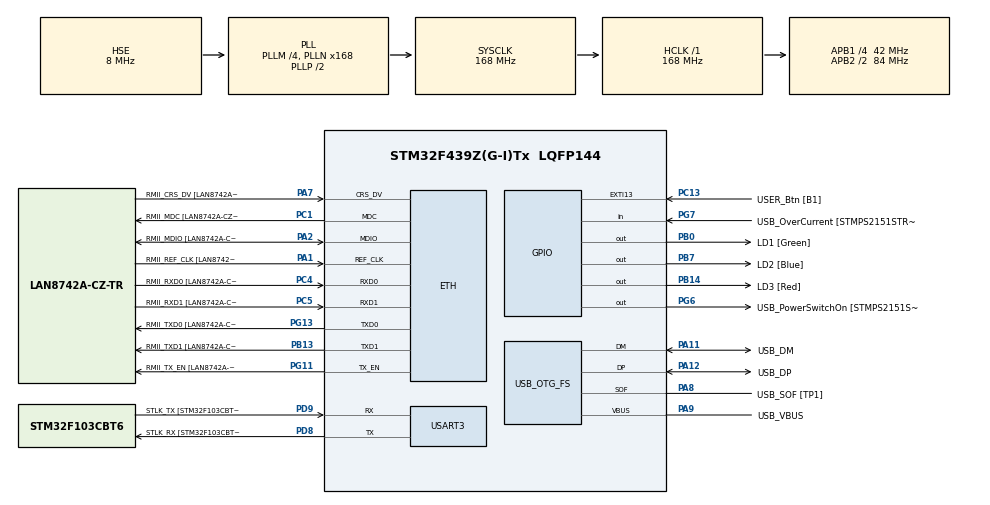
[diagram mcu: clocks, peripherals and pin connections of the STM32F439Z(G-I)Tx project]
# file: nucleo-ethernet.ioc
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ETH.MediaInterface=HAL_ETH_RMII_MODE
ETH.PHY_Name=LAN8742A_PHY_ADDRESS
ETH.PHY_Value=0
ETH.PhyAddress=0
LWIP.IP_ADDRESS=192.168.050.010
LWIP.LWIP_DHCP=0
LWIP.NETMASK_ADDRESS=255.255.255.000
LWIP.Version=v2.1.2_Cube
Mcu.Family=STM32F4
Mcu.Name=STM32F439Z(G-I)Tx
Mcu.Package=LQFP144
NVIC.ETH_IRQn=true\:0\:0\:false\:false\:true\:true\:true\:true
NVIC.PriorityGroup=NVIC_PRIORITYGROUP_4
PA1.GPIO_Label=RMII_REF_CLK [LAN8742A-CZ-TR_REFCLK0]
PA1.Mode=RMII
PA1.Signal=ETH_REF_CLK
PA10.GPIO_Label=USB_ID
PA10.Signal=USB_OTG_FS_ID
PA11.GPIO_Label=USB_DM
PA11.Mode=Device_Only
PA11.Signal=USB_OTG_FS_DM
PA12.GPIO_Label=USB_DP
PA12.Mode=Device_Only
PA12.Signal=USB_OTG_FS_DP
PA13.GPIO_Label=TMS
PA13.Mode=Serial_Wire
PA13.Signal=SYS_JTMS-SWDIO
PA14.GPIO_Label=TCK
PA14.Mode=Serial_Wire
PA14.Signal=SYS_JTCK-SWCLK
PA2.GPIO_Label=RMII_MDIO [LAN8742A-CZ-TR_MDIO]
PA2.Mode=RMII
PA2.Signal=ETH_MDIO
PA7.GPIO_Label=RMII_CRS_DV [LAN8742A-CZ-TR_CRS_DV]
PA7.Mode=RMII
PA7.Signal=ETH_CRS_DV
PA8.GPIO_Label=USB_SOF [TP1]
PA8.Mode=Activate_SOF_FS
PA8.Signal=USB_OTG_FS_SOF
PA9.GPIO_Label=USB_VBUS
PA9.Mode=Activate_VBUS
PA9.Signal=USB_OTG_FS_VBUS
PB0.GPIO_Label=LD1 [Green]
PB0.Signal=GPIO_Output
PB13.GPIO_Label=RMII_TXD1 [LAN8742A-CZ-TR_TXD1]
PB13.Mode=RMII
PB13.Signal=ETH_TXD1
PB14.GPIO_Label=LD3 [Red]
PB14.Signal=GPIO_Output
PB7.GPIO_Label=LD2 [Blue]
PB7.Signal=GPIO_Output
PC1.GPIO_Label=RMII_MDC [LAN8742A-CZ-TR_MDC]
PC1.Mode=RMII
PC1.Signal=ETH_MDC
PC13.GPIO_Label=USER_Btn [B1]
PC13.Signal=GPXTI13
PC14/OSC32_IN.Mode=LSE-External-Oscillator
PC14/OSC32_IN.Signal=RCC_OSC32_IN
PC15/OSC32_OUT.Mode=LSE-External-Oscillator
PC15/OSC32_OUT.Signal=RCC_OSC32_OUT
PC4.GPIO_Label=RMII_RXD0 [LAN8742A-CZ-TR_RXD0]
PC4.Mode=RMII
PC4.Signal=ETH_RXD0
PC5.GPIO_Label=RMII_RXD1 [LAN8742A-CZ-TR_RXD1]
PC5.Mode=RMII
PC5.Signal=ETH_RXD1
PD8.GPIO_Label=STLK_RX [STM32F103CBT6_PA3]
PD8.Mode=Asynchronous
PD8.Signal=USART3_TX
PD9.GPIO_Label=STLK_TX [STM32F103CBT6_PA2]
PD9.Mode=Asynchronous
PD9.Signal=USART3_RX
PG11.GPIO_Label=RMII_TX_EN [LAN8742A-CZ-TR_TXEN]
PG11.Mode=RMII
PG11.Signal=ETH_TX_EN
PG13.GPIO_Label=RMII_TXD0 [LAN8742A-CZ-TR_TXD0]
PG13.Mode=RMII
PG13.Signal=ETH_TXD0
PG6.GPIO_Label=USB_PowerSwitchOn [STMPS2151STR_EN]
PG6.Signal=GPIO_Output
PG7.GPIO_Label=USB_OverCurrent [STMPS2151STR_FAULT]
PG7.Signal=GPIO_Input
PH0/OSC_IN.GPIO_Label=MCO [STM32F103CBT6_PA8]
PH0/OSC_IN.Mode=HSE-External-Clock-Source
PH0/OSC_IN.Signal=RCC_OSC_IN
PH1/OSC_OUT.Mode=HSE-External-Clock-Source
PH1/OSC_OUT.Signal=RCC_OSC_OUT
ProjectManager.HeapSize=0x200
ProjectManager.StackSize=0x400
ProjectManager.TargetToolchain=STM32CubeIDE
RCC.48MHZClocksFreq_Value=48000000
RCC.AHBFreq_Value=168000000
RCC.APB1CLKDivider=RCC_HCLK_DIV4
RCC.APB1Freq_Value=42000000
RCC.APB1TimFreq_Value=84000000
RCC.APB2CLKDivider=RCC_HCLK_DIV2
RCC.APB2Freq_Value=84000000
RCC.APB2TimCLKDivider=2
RCC.APB2TimFreq_Value=168000000
RCC.CortexFreq_Value=168000000
RCC.HCLKFreq_Value=168000000
RCC.HSE_VALUE=8000000
RCC.HSI_VALUE=16000000
RCC.PLLM=4
RCC.PLLMUL=RCC_PLL_MUL9
RCC.PLLN=168
RCC.PLLQ=7
RCC.PRESCALERUSB=RCC_USBCLKSOURCE_PLL_DIV1_5
RCC.SYSCLKFreq_VALUE=168000000
RCC.SYSCLKSource=RCC_SYSCLKSOURCE_PLLCLK
RCC.SYSCLKSourceVirtual=RCC_SYSCLKSOURCE_PLLCLK
RCC.USBFreq_Value=48000000
RCC.VCOOutputFreq_Value=336000000
USART3.VirtualMode=VM_ASYNC
USB_OTG_FS.VirtualMode=Device_Only
VP_LWIP_VS_Enabled.Mode=Enabled
board=NUCLEO-F439ZI

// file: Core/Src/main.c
/* USER CODE BEGIN Header */
/**
  ******************************************************************************
  * @file           : main.c
  * @brief          : Main program body
  ******************************************************************************
  * @attention
  *
  * Copyright (c) 2026 STMicroelectronics.
  * All rights reserved.
  *
  * This software is licensed under terms that can be found in the LICENSE file
  * in the root directory of this software component.
  * If no LICENSE file comes with this software, it is provided AS-IS.
  *
  ******************************************************************************
  */
/* USER CODE END Header */
#include "main.h"
#include "lwip.h"

/* USER CODE BEGIN Includes */
#include "ethernet_driver.h"
#include "led_control.h"
#include "app_commands.h"
#include "mqtt_driver.h"
#include <string.h>
/* USER CODE END Includes */

UART_HandleTypeDef huart3;

PCD_HandleTypeDef hpcd_USB_OTG_FS;

/* USER CODE BEGIN PV */

/* Islenmekte olan TCP komutunun hangi istemciden geldigini tutar.
   tcp_reply() bu degeri okuyarak cevabi dogru istemciye gonderir.
   Islem tek is parcaciginda (RTOS'suz) senkron oldugu icin guvenlidir. */
static ethernet_client_t s_current_tcp_client = NULL;
/* USER CODE END PV */

void SystemClock_Config(void);
static void MX_GPIO_Init(void);
static void MX_USART3_UART_Init(void);
static void MX_USB_OTG_FS_PCD_Init(void);

/* USER CODE BEGIN 0 */

/**
  * @brief  app_commands_process()'in TCP kaynakli komutlara cevap
  *         vermek icin kullandigi reply fonksiyonu. Cevabi, komutu
  *         gonderen istemciye (s_current_tcp_client) gonderir.
  */
static void tcp_reply(const char *msg, uint16_t len)
{
  ethernet_send_to(s_current_tcp_client, (const uint8_t *)msg, len);
}

/**
  * @brief  Ethernet (TCP) uzerinden mesaj alindiginda cagrilir.
  *         Gelen komutu app_commands katmanina yonlendirir, cevap
  *         gonderen istemciye TCP kanalindan doner.
  */
static void app_ethernet_rx_callback(ethernet_client_t client, const uint8_t *data, uint16_t len)
{
  s_current_tcp_client = client;
  app_commands_process(data, len, tcp_reply);
  s_current_tcp_client = NULL;
}

/* USER CODE END 0 */

int main(void)
{

  /* MCU Configuration--------------------------------------------------------*/

  /* Reset of all peripherals, Initializes the Flash interface and the Systick. */
  HAL_Init();

  /* Configure the system clock */
  SystemClock_Config();

  /* Initialize all configured peripherals */
  MX_GPIO_Init();
  MX_USART3_UART_Init();
  MX_USB_OTG_FS_PCD_Init();
  MX_LWIP_Init();
  /* USER CODE BEGIN 2 */
  led_control_init();
  ethernet_init();
  ethernet_set_rx_callback(app_ethernet_rx_callback);
  mqtt_driver_init();
  /* USER CODE END 2 */

  /* Infinite loop */
  while (1)
  {

    /* USER CODE BEGIN 3 */
    ethernet_run();
    mqtt_driver_run();
  }
  /* USER CODE END 3 */
}

void SystemClock_Config(void)
{
  RCC_OscInitTypeDef RCC_OscInitStruct = {0};
  RCC_ClkInitTypeDef RCC_ClkInitStruct = {0};

  /** Configure the main internal regulator output voltage
  */
  __HAL_RCC_PWR_CLK_ENABLE();
  __HAL_PWR_VOLTAGESCALING_CONFIG(PWR_REGULATOR_VOLTAGE_SCALE1);

  /** Initializes the RCC Oscillators according to the specified parameters
  * in the RCC_OscInitTypeDef structure.
  */
  RCC_OscInitStruct.OscillatorType = RCC_OSCILLATORTYPE_HSE;
  RCC_OscInitStruct.HSEState = RCC_HSE_BYPASS;
  RCC_OscInitStruct.PLL.PLLState = RCC_PLL_ON;
  RCC_OscInitStruct.PLL.PLLSource = RCC_PLLSOURCE_HSE;
  RCC_OscInitStruct.PLL.PLLM = 4;
  RCC_OscInitStruct.PLL.PLLN = 168;
  RCC_OscInitStruct.PLL.PLLP = RCC_PLLP_DIV2;
  RCC_OscInitStruct.PLL.PLLQ = 7;
  if (HAL_RCC_OscConfig(&RCC_OscInitStruct) != HAL_OK)
  {
    Error_Handler();
  }

  /** Initializes the CPU, AHB and APB buses clocks
  */
  RCC_ClkInitStruct.ClockType = RCC_CLOCKTYPE_HCLK|RCC_CLOCKTYPE_SYSCLK
                              |RCC_CLOCKTYPE_PCLK1|RCC_CLOCKTYPE_PCLK2;
  RCC_ClkInitStruct.SYSCLKSource = RCC_SYSCLKSOURCE_PLLCLK;
  RCC_ClkInitStruct.AHBCLKDivider = RCC_SYSCLK_DIV1;
  RCC_ClkInitStruct.APB1CLKDivider = RCC_HCLK_DIV4;
  RCC_ClkInitStruct.APB2CLKDivider = RCC_HCLK_DIV2;

  if (HAL_RCC_ClockConfig(&RCC_ClkInitStruct, FLASH_LATENCY_5) != HAL_OK)
  {
    Error_Handler();
  }
}

static void MX_USART3_UART_Init(void)
{

  huart3.Instance = USART3;
  huart3.Init.BaudRate = 115200;
  huart3.Init.WordLength = UART_WORDLENGTH_8B;
  huart3.Init.StopBits = UART_STOPBITS_1;
  huart3.Init.Parity = UART_PARITY_NONE;
  huart3.Init.Mode = UART_MODE_TX_RX;
  huart3.Init.HwFlowCtl = UART_HWCONTROL_NONE;
  huart3.Init.OverSampling = UART_OVERSAMPLING_16;
  if (HAL_UART_Init(&huart3) != HAL_OK)
  {
    Error_Handler();
  }

}

static void MX_USB_OTG_FS_PCD_Init(void)
{

  hpcd_USB_OTG_FS.Instance = USB_OTG_FS;
  hpcd_USB_OTG_FS.Init.dev_endpoints = 4;
  hpcd_USB_OTG_FS.Init.speed = PCD_SPEED_FULL;
  hpcd_USB_OTG_FS.Init.dma_enable = DISABLE;
  hpcd_USB_OTG_FS.Init.phy_itface = PCD_PHY_EMBEDDED;
  hpcd_USB_OTG_FS.Init.Sof_enable = ENABLE;
  hpcd_USB_OTG_FS.Init.low_power_enable = DISABLE;
  hpcd_USB_OTG_FS.Init.lpm_enable = DISABLE;
  hpcd_USB_OTG_FS.Init.vbus_sensing_enable = ENABLE;
  hpcd_USB_OTG_FS.Init.use_dedicated_ep1 = DISABLE;
  if (HAL_PCD_Init(&hpcd_USB_OTG_FS) != HAL_OK)
  {
    Error_Handler();
  }

}

static void MX_GPIO_Init(void)
{
  GPIO_InitTypeDef GPIO_InitStruct = {0};

  /* GPIO Ports Clock Enable */
  __HAL_RCC_GPIOC_CLK_ENABLE();
  __HAL_RCC_GPIOH_CLK_ENABLE();
  __HAL_RCC_GPIOA_CLK_ENABLE();
  __HAL_RCC_GPIOB_CLK_ENABLE();
  __HAL_RCC_GPIOD_CLK_ENABLE();
  __HAL_RCC_GPIOG_CLK_ENABLE();

  /*Configure GPIO pin Output Level */
  HAL_GPIO_WritePin(GPIOB, LD1_Pin|LD3_Pin|LD2_Pin, GPIO_PIN_RESET);

  /*Configure GPIO pin Output Level */
  HAL_GPIO_WritePin(USB_PowerSwitchOn_GPIO_Port, USB_PowerSwitchOn_Pin, GPIO_PIN_RESET);

  /*Configure GPIO pin : USER_Btn_Pin */
  GPIO_InitStruct.Pin = USER_Btn_Pin;
  GPIO_InitStruct.Mode = GPIO_MODE_IT_RISING;
  GPIO_InitStruct.Pull = GPIO_NOPULL;
  HAL_GPIO_Init(USER_Btn_GPIO_Port, &GPIO_InitStruct);

  /*Configure GPIO pins : LD1_Pin LD3_Pin LD2_Pin */
  GPIO_InitStruct.Pin = LD1_Pin|LD3_Pin|LD2_Pin;
  GPIO_InitStruct.Mode = GPIO_MODE_OUTPUT_PP;
  GPIO_InitStruct.Pull = GPIO_NOPULL;
  GPIO_InitStruct.Speed = GPIO_SPEED_FREQ_LOW;
  HAL_GPIO_Init(GPIOB, &GPIO_InitStruct);

  /*Configure GPIO pin : USB_PowerSwitchOn_Pin */
  GPIO_InitStruct.Pin = USB_PowerSwitchOn_Pin;
  GPIO_InitStruct.Mode = GPIO_MODE_OUTPUT_PP;
  GPIO_InitStruct.Pull = GPIO_NOPULL;
  GPIO_InitStruct.Speed = GPIO_SPEED_FREQ_LOW;
  HAL_GPIO_Init(USB_PowerSwitchOn_GPIO_Port, &GPIO_InitStruct);

  /*Configure GPIO pin : USB_OverCurrent_Pin */
  GPIO_InitStruct.Pin = USB_OverCurrent_Pin;
  GPIO_InitStruct.Mode = GPIO_MODE_INPUT;
  GPIO_InitStruct.Pull = GPIO_NOPULL;
  HAL_GPIO_Init(USB_OverCurrent_GPIO_Port, &GPIO_InitStruct);

}

void Error_Handler(void)
{
  __disable_irq();
  while (1)
  {
  }
}
